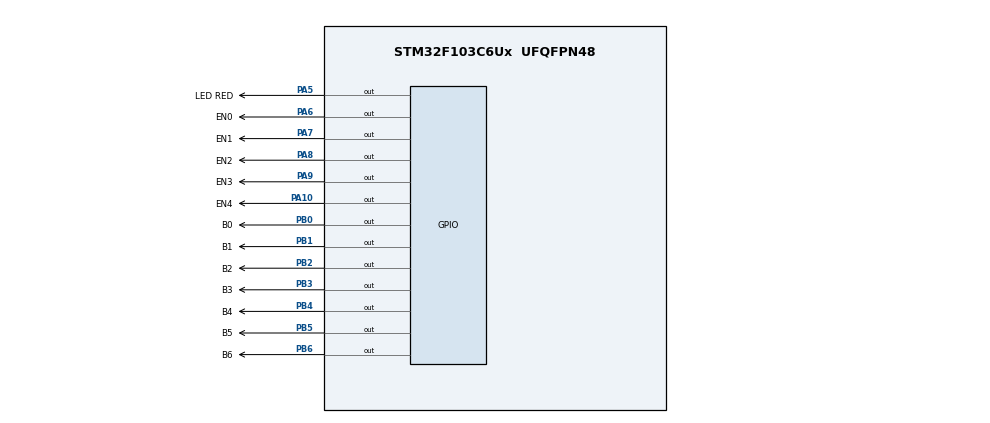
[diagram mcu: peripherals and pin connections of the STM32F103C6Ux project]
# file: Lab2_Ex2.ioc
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Mcu.Family=STM32F1
Mcu.Name=STM32F103C6Ux
Mcu.Package=UFQFPN48
NVIC.PriorityGroup=NVIC_PRIORITYGROUP_4
NVIC.TIM2_IRQn=true\:0\:0\:false\:false\:true\:true\:true
PA10.GPIO_Label=EN4
PA10.Signal=GPIO_Output
PA13.Mode=Serial_Wire
PA13.Signal=SYS_JTMS-SWDIO
PA14.Mode=Serial_Wire
PA14.Signal=SYS_JTCK-SWCLK
PA5.GPIO_Label=LED RED
PA5.Signal=GPIO_Output
PA6.GPIO_Label=EN0
PA6.Signal=GPIO_Output
PA7.GPIO_Label=EN1
PA7.Signal=GPIO_Output
PA8.GPIO_Label=EN2
PA8.Signal=GPIO_Output
PA9.GPIO_Label=EN3
PA9.Signal=GPIO_Output
PB0.GPIO_Label=B0
PB0.Signal=GPIO_Output
PB1.GPIO_Label=B1
PB1.Signal=GPIO_Output
PB2.GPIO_Label=B2
PB2.Signal=GPIO_Output
PB3.GPIO_Label=B3
PB3.Signal=GPIO_Output
PB4.GPIO_Label=B4
PB4.Signal=GPIO_Output
PB5.GPIO_Label=B5
PB5.Signal=GPIO_Output
PB6.GPIO_Label=B6
PB6.Signal=GPIO_Output
ProjectManager.HeapSize=0x200
ProjectManager.StackSize=0x400
ProjectManager.TargetToolchain=STM32CubeIDE
RCC.APB1Freq_Value=8000000
RCC.APB2Freq_Value=8000000
TIM2.Period=9
TIM2.Prescaler=7999
VP_TIM2_VS_ClockSourceINT.Mode=Internal
board=custom

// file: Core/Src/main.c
/* USER CODE BEGIN Header */
/**
  ******************************************************************************
  * @file           : main.c
  * @brief          : Main program body
  ******************************************************************************
  * @attention
  *
  * <h2><center>&copy; Copyright (c) 2025 STMicroelectronics.
  * All rights reserved.</center></h2>
  *
  * This software component is licensed by ST under BSD 3-Clause license,
  * the "License"; You may not use this file except in compliance with the
  * License. You may obtain a copy of the License at:
  *                        opensource.org/licenses/BSD-3-Clause
  *
  ******************************************************************************
  */
/* USER CODE END Header */
#include "main.h"

/* USER CODE BEGIN Includes */
#include "software_timer.h"
/* USER CODE END Includes */

TIM_HandleTypeDef htim2;

/* USER CODE BEGIN PV */
int idx = 0;
int val[4] = {1,2,3,0};
/* USER CODE END PV */

void SystemClock_Config(void);
static void MX_GPIO_Init(void);
static void MX_TIM2_Init(void);
/* USER CODE BEGIN PFP */
void display7SEG(int num);
/* USER CODE END PFP */

int main(void)
{

  /* MCU Configuration--------------------------------------------------------*/

  /* Reset of all peripherals, Initializes the Flash interface and the Systick. */
  HAL_Init();

  /* Configure the system clock */
  SystemClock_Config();

  /* Initialize all configured peripherals */
  MX_GPIO_Init();
  MX_TIM2_Init();
  /* USER CODE BEGIN 2 */
  HAL_TIM_Base_Start_IT(&htim2);
  /* USER CODE END 2 */

  /* Infinite loop */
  /* USER CODE BEGIN WHILE */
  idx = 0;

  setTimer(50);
  while (1)
  {
	  if (timer_flag == 1) {
		  //PA5 CHECK
		  HAL_GPIO_TogglePin(LED_RED_GPIO_Port, LED_RED_Pin);

		  //TO DO
		  timer_flag = 0;

		  //tat toan bo digit
		  HAL_GPIO_WritePin(EN0_GPIO_Port, EN0_Pin, GPIO_PIN_SET);
		  HAL_GPIO_WritePin(EN1_GPIO_Port, EN1_Pin, GPIO_PIN_SET);
		  HAL_GPIO_WritePin(EN2_GPIO_Port, EN2_Pin, GPIO_PIN_SET);
		  HAL_GPIO_WritePin(EN3_GPIO_Port, EN3_Pin, GPIO_PIN_SET);

		  //ghi pattern
		  display7SEG(val[idx]);

		  //bat 1 digit
		  switch (idx) {
		     case 0: HAL_GPIO_WritePin(EN0_GPIO_Port, EN0_Pin, GPIO_PIN_RESET); break;
		     case 1: HAL_GPIO_WritePin(EN1_GPIO_Port, EN1_Pin, GPIO_PIN_RESET); break;
		     case 2: HAL_GPIO_WritePin(EN2_GPIO_Port, EN2_Pin, GPIO_PIN_RESET); break;
		     case 3: HAL_GPIO_WritePin(EN3_GPIO_Port, EN3_Pin, GPIO_PIN_RESET); break;
		   }

		   //DOT chop moi 1s
		   if (idx == 1 || idx == 3) HAL_GPIO_TogglePin(EN4_GPIO_Port, EN4_Pin);

		   //RESET
		   idx = (idx + 1) & 3;
		   setTimer(50);
	  }
    /* USER CODE END WHILE */

  }
}

void SystemClock_Config(void)
{
  RCC_OscInitTypeDef RCC_OscInitStruct = {0};
  RCC_ClkInitTypeDef RCC_ClkInitStruct = {0};

  /** Initializes the RCC Oscillators according to the specified parameters
  * in the RCC_OscInitTypeDef structure.
  */
  RCC_OscInitStruct.OscillatorType = RCC_OSCILLATORTYPE_HSI;
  RCC_OscInitStruct.HSIState = RCC_HSI_ON;
  RCC_OscInitStruct.HSICalibrationValue = RCC_HSICALIBRATION_DEFAULT;
  RCC_OscInitStruct.PLL.PLLState = RCC_PLL_NONE;
  if (HAL_RCC_OscConfig(&RCC_OscInitStruct) != HAL_OK)
  {
    Error_Handler();
  }
  /** Initializes the CPU, AHB and APB buses clocks
  */
  RCC_ClkInitStruct.ClockType = RCC_CLOCKTYPE_HCLK|RCC_CLOCKTYPE_SYSCLK
                              |RCC_CLOCKTYPE_PCLK1|RCC_CLOCKTYPE_PCLK2;
  RCC_ClkInitStruct.SYSCLKSource = RCC_SYSCLKSOURCE_HSI;
  RCC_ClkInitStruct.AHBCLKDivider = RCC_SYSCLK_DIV1;
  RCC_ClkInitStruct.APB1CLKDivider = RCC_HCLK_DIV1;
  RCC_ClkInitStruct.APB2CLKDivider = RCC_HCLK_DIV1;

  if (HAL_RCC_ClockConfig(&RCC_ClkInitStruct, FLASH_LATENCY_0) != HAL_OK)
  {
    Error_Handler();
  }
}

static void MX_TIM2_Init(void)
{

  TIM_ClockConfigTypeDef sClockSourceConfig = {0};
  TIM_MasterConfigTypeDef sMasterConfig = {0};

  htim2.Instance = TIM2;
  htim2.Init.Prescaler = 7999;
  htim2.Init.CounterMode = TIM_COUNTERMODE_UP;
  htim2.Init.Period = 9;
  htim2.Init.ClockDivision = TIM_CLOCKDIVISION_DIV1;
  htim2.Init.AutoReloadPreload = TIM_AUTORELOAD_PRELOAD_DISABLE;
  if (HAL_TIM_Base_Init(&htim2) != HAL_OK)
  {
    Error_Handler();
  }
  sClockSourceConfig.ClockSource = TIM_CLOCKSOURCE_INTERNAL;
  if (HAL_TIM_ConfigClockSource(&htim2, &sClockSourceConfig) != HAL_OK)
  {
    Error_Handler();
  }
  sMasterConfig.MasterOutputTrigger = TIM_TRGO_RESET;
  sMasterConfig.MasterSlaveMode = TIM_MASTERSLAVEMODE_DISABLE;
  if (HAL_TIMEx_MasterConfigSynchronization(&htim2, &sMasterConfig) != HAL_OK)
  {
    Error_Handler();
  }

}

static void MX_GPIO_Init(void)
{
  GPIO_InitTypeDef GPIO_InitStruct = {0};

  /* GPIO Ports Clock Enable */
  __HAL_RCC_GPIOA_CLK_ENABLE();
  __HAL_RCC_GPIOB_CLK_ENABLE();

  /*Configure GPIO pin Output Level */
  HAL_GPIO_WritePin(GPIOA, LED_RED_Pin|EN0_Pin|EN1_Pin|EN2_Pin
                          |EN3_Pin|EN4_Pin, GPIO_PIN_RESET);

  /*Configure GPIO pin Output Level */
  HAL_GPIO_WritePin(GPIOB, B0_Pin|B1_Pin|B2_Pin|B3_Pin
                          |B4_Pin|B5_Pin|B6_Pin, GPIO_PIN_RESET);

  /*Configure GPIO pins : LED_RED_Pin EN0_Pin EN1_Pin EN2_Pin
                           EN3_Pin EN4_Pin */
  GPIO_InitStruct.Pin = LED_RED_Pin|EN0_Pin|EN1_Pin|EN2_Pin
                          |EN3_Pin|EN4_Pin;
  GPIO_InitStruct.Mode = GPIO_MODE_OUTPUT_PP;
  GPIO_InitStruct.Pull = GPIO_NOPULL;
  GPIO_InitStruct.Speed = GPIO_SPEED_FREQ_LOW;
  HAL_GPIO_Init(GPIOA, &GPIO_InitStruct);

  /*Configure GPIO pins : B0_Pin B1_Pin B2_Pin B3_Pin
                           B4_Pin B5_Pin B6_Pin */
  GPIO_InitStruct.Pin = B0_Pin|B1_Pin|B2_Pin|B3_Pin
                          |B4_Pin|B5_Pin|B6_Pin;
  GPIO_InitStruct.Mode = GPIO_MODE_OUTPUT_PP;
  GPIO_InitStruct.Pull = GPIO_NOPULL;
  GPIO_InitStruct.Speed = GPIO_SPEED_FREQ_LOW;
  HAL_GPIO_Init(GPIOB, &GPIO_InitStruct);

}

/* USER CODE BEGIN 4 */
void display7SEG(int num) {
	if (num == 0) {
		HAL_GPIO_WritePin(B0_GPIO_Port, B0_Pin, RESET);
		HAL_GPIO_WritePin(B1_GPIO_Port, B1_Pin, RESET);
		HAL_GPIO_WritePin(B2_GPIO_Port, B2_Pin, RESET);
		HAL_GPIO_WritePin(B3_GPIO_Port, B3_Pin, RESET);
		HAL_GPIO_WritePin(B4_GPIO_Port, B4_Pin, RESET);
		HAL_GPIO_WritePin(B5_GPIO_Port, B5_Pin, RESET);
		HAL_GPIO_WritePin(B6_GPIO_Port, B6_Pin, SET);
	}

	if (num == 1) {
		HAL_GPIO_WritePin(B0_GPIO_Port, B0_Pin, SET);
		HAL_GPIO_WritePin(B1_GPIO_Port, B1_Pin, RESET);
		HAL_GPIO_WritePin(B2_GPIO_Port, B2_Pin, RESET);
		HAL_GPIO_WritePin(B3_GPIO_Port, B3_Pin, SET);
		HAL_GPIO_WritePin(B4_GPIO_Port, B4_Pin, SET);
		HAL_GPIO_WritePin(B5_GPIO_Port, B5_Pin, SET);
		HAL_GPIO_WritePin(B6_GPIO_Port, B6_Pin, SET);
	}

	if (num == 2) {
		HAL_GPIO_WritePin(B0_GPIO_Port, B0_Pin, RESET);
		HAL_GPIO_WritePin(B1_GPIO_Port, B1_Pin, RESET);
		HAL_GPIO_WritePin(B2_GPIO_Port, B2_Pin, SET);
		HAL_GPIO_WritePin(B3_GPIO_Port, B3_Pin, RESET);
		HAL_GPIO_WritePin(B4_GPIO_Port, B4_Pin, RESET);
		HAL_GPIO_WritePin(B5_GPIO_Port, B5_Pin, SET);
		HAL_GPIO_WritePin(B6_GPIO_Port, B6_Pin, RESET);
	}

	if (num == 3) {
		HAL_GPIO_WritePin(B0_GPIO_Port, B0_Pin, RESET);
		HAL_GPIO_WritePin(B1_GPIO_Port, B1_Pin, RESET);
		HAL_GPIO_WritePin(B2_GPIO_Port, B2_Pin, RESET);
		HAL_GPIO_WritePin(B3_GPIO_Port, B3_Pin, RESET);
		HAL_GPIO_WritePin(B4_GPIO_Port, B4_Pin, SET);
		HAL_GPIO_WritePin(B5_GPIO_Port, B5_Pin, SET);
		HAL_GPIO_WritePin(B6_GPIO_Port, B6_Pin, RESET);
	}

	if (num == 4) {
		HAL_GPIO_WritePin(B0_GPIO_Port, B0_Pin, SET);
		HAL_GPIO_WritePin(B1_GPIO_Port, B1_Pin, RESET);
		HAL_GPIO_WritePin(B2_GPIO_Port, B2_Pin, RESET);
		HAL_GPIO_WritePin(B3_GPIO_Port, B3_Pin, SET);
		HAL_GPIO_WritePin(B4_GPIO_Port, B4_Pin, SET);
		HAL_GPIO_WritePin(B5_GPIO_Port, B5_Pin, RESET);
		HAL_GPIO_WritePin(B6_GPIO_Port, B6_Pin, RESET);
	}

	if (num == 5) {
		HAL_GPIO_WritePin(B0_GPIO_Port, B0_Pin, RESET);
		HAL_GPIO_WritePin(B1_GPIO_Port, B1_Pin, SET);
		HAL_GPIO_WritePin(B2_GPIO_Port, B2_Pin, RESET);
		HAL_GPIO_WritePin(B3_GPIO_Port, B3_Pin, RESET);
		HAL_GPIO_WritePin(B4_GPIO_Port, B4_Pin, SET);
		HAL_GPIO_WritePin(B5_GPIO_Port, B5_Pin, RESET);
		HAL_GPIO_WritePin(B6_GPIO_Port, B6_Pin, RESET);
	}

	if (num == 6) {
		HAL_GPIO_WritePin(B0_GPIO_Port, B0_Pin, RESET);
		HAL_GPIO_WritePin(B1_GPIO_Port, B1_Pin, SET);
		HAL_GPIO_WritePin(B2_GPIO_Port, B2_Pin, RESET);
		HAL_GPIO_WritePin(B3_GPIO_Port, B3_Pin, RESET);
		HAL_GPIO_WritePin(B4_GPIO_Port, B4_Pin, RESET);
		HAL_GPIO_WritePin(B5_GPIO_Port, B5_Pin, RESET);
		HAL_GPIO_WritePin(B6_GPIO_Port, B6_Pin, RESET);
	}

	if (num == 7) {
		HAL_GPIO_WritePin(B0_GPIO_Port, B0_Pin, RESET);
		HAL_GPIO_WritePin(B1_GPIO_Port, B1_Pin, RESET);
		HAL_GPIO_WritePin(B2_GPIO_Port, B2_Pin, RESET);
		HAL_GPIO_WritePin(B3_GPIO_Port, B3_Pin, SET);
		HAL_GPIO_WritePin(B4_GPIO_Port, B4_Pin, SET);
		HAL_GPIO_WritePin(B5_GPIO_Port, B5_Pin, SET);
		HAL_GPIO_WritePin(B6_GPIO_Port, B6_Pin, SET);
	}

	if (num == 8) {
		HAL_GPIO_WritePin(B0_GPIO_Port, B0_Pin, RESET);
		HAL_GPIO_WritePin(B1_GPIO_Port, B1_Pin, RESET);
		HAL_GPIO_WritePin(B2_GPIO_Port, B2_Pin, RESET);
		HAL_GPIO_WritePin(B3_GPIO_Port, B3_Pin, RESET);
		HAL_GPIO_WritePin(B4_GPIO_Port, B4_Pin, RESET);
		HAL_GPIO_WritePin(B5_GPIO_Port, B5_Pin, RESET);
		HAL_GPIO_WritePin(B6_GPIO_Port, B6_Pin, RESET);
	}

	if (num == 9) {
		HAL_GPIO_WritePin(B0_GPIO_Port, B0_Pin, RESET);
		HAL_GPIO_WritePin(B1_GPIO_Port, B1_Pin, RESET);
		HAL_GPIO_WritePin(B2_GPIO_Port, B2_Pin, RESET);
		HAL_GPIO_WritePin(B3_GPIO_Port, B3_Pin, RESET);
		HAL_GPIO_WritePin(B4_GPIO_Port, B4_Pin, SET);
		HAL_GPIO_WritePin(B5_GPIO_Port, B5_Pin, RESET);
		HAL_GPIO_WritePin(B6_GPIO_Port, B6_Pin, RESET);
	}
}

void HAL_TIM_PeriodElapsedCallback(TIM_HandleTypeDef *htim) {
	timerRun();
}
/* USER CODE END 4 */

void Error_Handler(void)
{
  __disable_irq();
  while (1)
  {
  }
}

/************************ (C) COPYRIGHT STMicroelectronics *****END OF FILE****/
